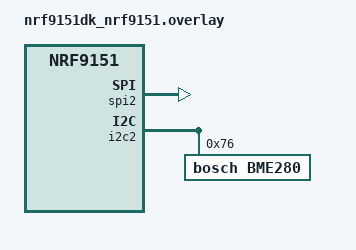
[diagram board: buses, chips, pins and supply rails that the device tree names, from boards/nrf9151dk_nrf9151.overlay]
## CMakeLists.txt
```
# SPDX-License-Identifier: Apache-2.0
cmake_minimum_required(VERSION 3.20.0)

find_package(Zephyr REQUIRED HINTS $ENV{ZEPHYR_BASE})
project(muon3_firmware)

target_sources(app PRIVATE src/main.c)
```

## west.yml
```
manifest:
  remotes:
    - name: ncs
      url-base: https://github.com/nrfconnect
  projects:
    - name: nrf
      remote: ncs
      revision: v2.7.0
      import: true
  self:
    path: firmware
```

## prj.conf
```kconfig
# Muon3 nRF9151 config - modern Zephyr/NCS
CONFIG_PRINTK=y
CONFIG_LOG=y
CONFIG_LOG_DEFAULT_LEVEL=3

# Modem
CONFIG_NRF_MODEM_LIB=y
CONFIG_LTE_LINK_CONTROL=y
CONFIG_LTE_AUTO_INIT_AND_CONNECT=n

# Networking for telemetry
CONFIG_NETWORKING=y
CONFIG_NET_SOCKETS=y
CONFIG_NET_SOCKETS_POSIX_NAMES=y

# SPI to gateware
CONFIG_SPI=y
CONFIG_SPI_NRFX=y

# I2C for sensors (BME280)
CONFIG_I2C=y
CONFIG_SENSOR=y

# For nRF91 specific
CONFIG_BOARD_ENABLE_CPUNET=n  # if no net core
```

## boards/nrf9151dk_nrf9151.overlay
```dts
/* Custom overlay for muon3 board pins */
/* SPI to gateware */
&spi2 {
    status = "okay";
    cs-gpios = <&gpio0 16 GPIO_ACTIVE_LOW>; /* adjust */
    pinctrl-0 = <&spi2_default>;
    pinctrl-1 = <&spi2_sleep>;
    pinctrl-names = "default", "sleep";
};

/* I2C for BME280 */
&i2c2 {
    status = "okay";
    pinctrl-0 = <&i2c2_default>;
    pinctrl-1 = <&i2c2_sleep>;
    pinctrl-names = "default", "sleep";

    bme280@76 {
        compatible = "bosch,bme280";
        reg = <0x76>;
    };
};
```

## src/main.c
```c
/*
 * Copyright (c) 2026
 * SPDX-License-Identifier: Apache-2.0
 */

#include <zephyr/kernel.h>
#include <zephyr/drivers/spi.h>
#include <zephyr/drivers/i2c.h>
#include <zephyr/logging/log.h>

LOG_MODULE_REGISTER(muon3, LOG_LEVEL_INF);

#define SPI_DEV_NODE DT_NODELABEL(spi2)  /* match your board overlay */
#define I2C_DEV_NODE DT_NODELABEL(i2c2)

static const struct device *spi_dev = DEVICE_DT_GET(SPI_DEV_NODE);
static const struct device *i2c_dev = DEVICE_DT_GET(I2C_DEV_NODE);

int main(void)
{
	LOG_INF("Muon3 firmware starting on nRF9151 (Zephyr modern)");

	if (!device_is_ready(spi_dev)) {
		LOG_ERR("SPI device not ready");
		return 0;
	}
	if (!device_is_ready(i2c_dev)) {
		LOG_ERR("I2C device not ready");
		return 0;
	}

	/* TODO:
	 * - Init nRF modem (AT commands or lte lc)
	 * - SPI comms with iCE40 gateware (read events, timestamps, control)
	 * - Read BME280 for temp/humidity/pressure, compute dew point
	 * - Control 4x TEC drivers (DRV8873) + fans via GPIO/PWM
	 * - GNSS + PPS sync
	 * - Cellular telemetry (MQTT/CoAP/UDP to server)
	 * - Config via SPI or cloud
	 * - Calibration injection
	 */

	while (1) {
		k_sleep(K_SECONDS(5));
		LOG_INF("Muon3 alive");
	}
	return 0;
}
```
